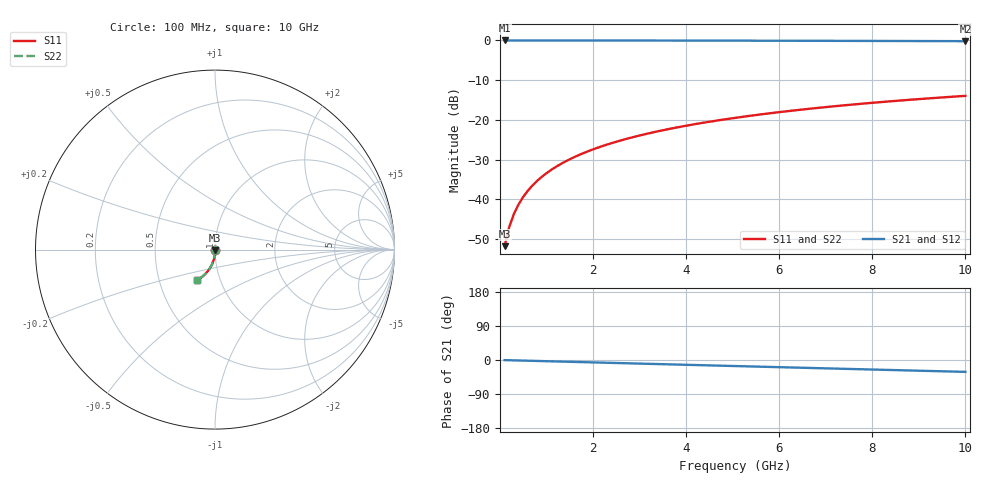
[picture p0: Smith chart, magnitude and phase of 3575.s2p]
# Hz S RI R 50.00
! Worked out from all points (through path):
!   100 points, 100 MHz to 10 GHz, reference 50 ohm
!   highest |S21| = -0.01 dB at 100 MHz (marker M1); lowest = -0.2 dB at 10 GHz (marker M2)
!   group delay of S21, straight-line fit = 8.71 ps
!   lowest |S11| = -51.8 dB at 100 MHz (marker M3), VSWR 1.01, Z = 50.1 - j0.214 ohm
!   |S11| at or under -10 dB: start of sweep to end of sweep
!   |S22| runs from -51.8 to -14.0 dB; largest |S21 - S12| = 0
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1e8  0.00143 -0.00214  0.9985 -0.00552  0.9985 -0.00552  0.00143 -0.00214
2e8  0.0014 -0.00427  0.9985 -0.011  0.9985 -0.011  0.0014 -0.00427
3e8  0.00135 -0.00641  0.9984 -0.0165  0.9984 -0.0165  0.00135 -0.00641
4e8  0.00127 -0.00854  0.9982 -0.0221  0.9982 -0.0221  0.00127 -0.00854
5e8  0.00116 -0.0107  0.9981 -0.0276  0.9981 -0.0276  0.00116 -0.0107
6e8  0.00103 -0.0128  0.9979 -0.0331  0.9979 -0.0331  0.00103 -0.0128
7e8  0.00088 -0.0149  0.9976 -0.0386  0.9976 -0.0386  0.00088 -0.0149
8e8  0.000703 -0.0171  0.9974 -0.0441  0.9974 -0.0441  0.000703 -0.0171
9e8  0.000503 -0.0192  0.9971 -0.0496  0.9971 -0.0496  0.000503 -0.0192
1.1e9  3.24e-05 -0.0234  0.9963 -0.0606  0.9963 -0.0606  3.24e-05 -0.0234
1.4e9  -0.00085 -0.0298  0.995 -0.0771  0.995 -0.0771  -0.00085 -0.0298
1.8e9  -0.00235 -0.0382  0.9928 -0.099  0.9928 -0.099  -0.00235 -0.0382
2.1e9  -0.00372 -0.0444  0.9907 -0.1154  0.9907 -0.1154  -0.00372 -0.0444
2.5e9  -0.00587 -0.0527  0.9875 -0.1372  0.9875 -0.1372  -0.00587 -0.0527
2.9e9  -0.00838 -0.0609  0.9837 -0.1589  0.9837 -0.1589  -0.00838 -0.0609
3.4e9  -0.012 -0.0709  0.9782 -0.1857  0.9782 -0.1857  -0.012 -0.0709
4.2e9  -0.0189 -0.0864  0.9678 -0.2283  0.9678 -0.2283  -0.0189 -0.0864
5.1e9  -0.0283 -0.1031  0.9535 -0.2753  0.9535 -0.2753  -0.0283 -0.1031
5.9e9  -0.0379 -0.117  0.9388 -0.3161  0.9388 -0.3161  -0.0379 -0.117
6.7e9  -0.0487 -0.13  0.9221 -0.356  0.9221 -0.356  -0.0487 -0.13
8.4e9  -0.075 -0.1541  0.8807 -0.437  0.8807 -0.437  -0.075 -0.1541
1e10  -0.103 -0.1719  0.8351 -0.5081  0.8351 -0.5081  -0.103 -0.1719
